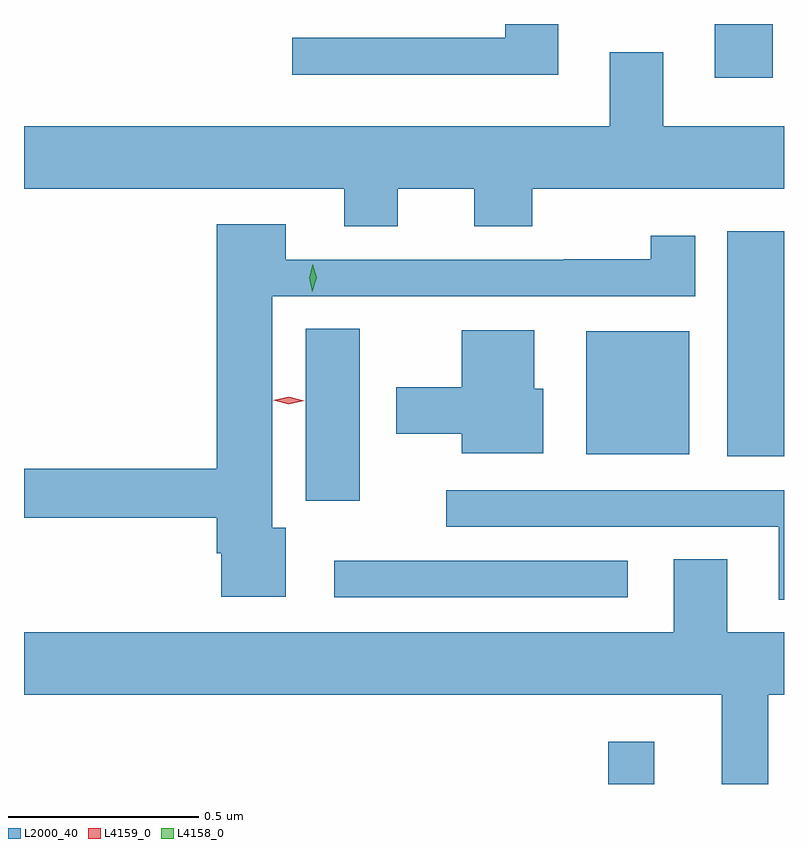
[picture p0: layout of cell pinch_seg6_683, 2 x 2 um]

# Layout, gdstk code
import gdstk
lib = gdstk.Library(unit=1e-6, precision=1e-09)
def R(c, l, rs):  # rectangles x0, y0, x1, y1
    for r in rs: c.add(gdstk.rectangle(r[:2], r[2:], *l))
def P(c, l, *ps):  # polygons
    for p in ps: c.add(gdstk.Polygon(p, *l))
L2000_40 = (2000, 40)
L4158_0 = (4158, 0)
L4159_0 = (4159, 0)

pinch_seg6_683 = lib.new_cell('pinch_seg6_683')
R(pinch_seg6_683, L2000_40, [(408.582,920.461,408.703,920.572), (407.862,920.952,408.634,921.048), (407.786,921.207,407.929,921.659), (408.896,921.323,409.045,921.916), (408.524,921.329,408.796,921.652), (408.863,922.32,409.016,922.461)])
P(pinch_seg6_683, L2000_40, [(408.451,922.461),(408.311,922.461),(408.311,922.425),(407.751,922.425),(407.751,922.328),(408.451,922.328)],
  [(408.028,922.028),(408.23,922.028),(408.23,921.929),(408.383,921.929),(408.383,922.028),(409.045,922.028),(409.045,922.192),(408.727,922.192),(408.727,922.387),(408.587,922.387),(408.587,922.192),(407.045,922.192),(407.045,922.028),(407.888,922.028),(407.888,921.929),(408.028,921.929)],
  [(407.734,921.136),(407.698,921.136),(407.698,921.744),(408.811,921.744),(408.811,921.904),(408.694,921.904),(408.694,921.842),(408.466,921.842),(408.466,921.84),(407.734,921.84),(407.734,921.934),(407.552,921.934),(407.552,921.29),(407.045,921.29),(407.045,921.162),(407.552,921.162),(407.552,921.068),(407.564,921.068),(407.564,920.954),(407.734,920.954)],
  [(408.412,921.501),(408.388,921.501),(408.388,921.655),(408.197,921.655),(408.197,921.505),(408.024,921.505),(408.024,921.383),(408.197,921.383),(408.197,921.332),(408.412,921.332)],
  [(409.045,921.234),(408.156,921.234),(408.156,921.138),(409.031,921.138),(409.031,920.946),(409.045,920.946)],
  [(409.003,920.696),(409.045,920.696),(409.045,920.86),(408.895,920.86),(408.895,921.053),(408.755,921.053),(408.755,920.86),(407.045,920.86),(407.045,920.696),(408.881,920.696),(408.881,920.461),(409.003,920.461)])
P(pinch_seg6_683, L4158_0, [(407.804,921.757),(407.804,921.757),(407.795,921.793),(407.805,921.829),(407.805,921.829),(407.805,921.829),(407.815,921.793),(407.804,921.757)])
P(pinch_seg6_683, L4159_0, [(407.742,921.46),(407.701,921.471),(407.701,921.471),(407.701,921.471),(407.742,921.48),(407.783,921.469),(407.783,921.469),(407.783,921.469)])

lib.write_gds('pinch_seg6_683.gds')
